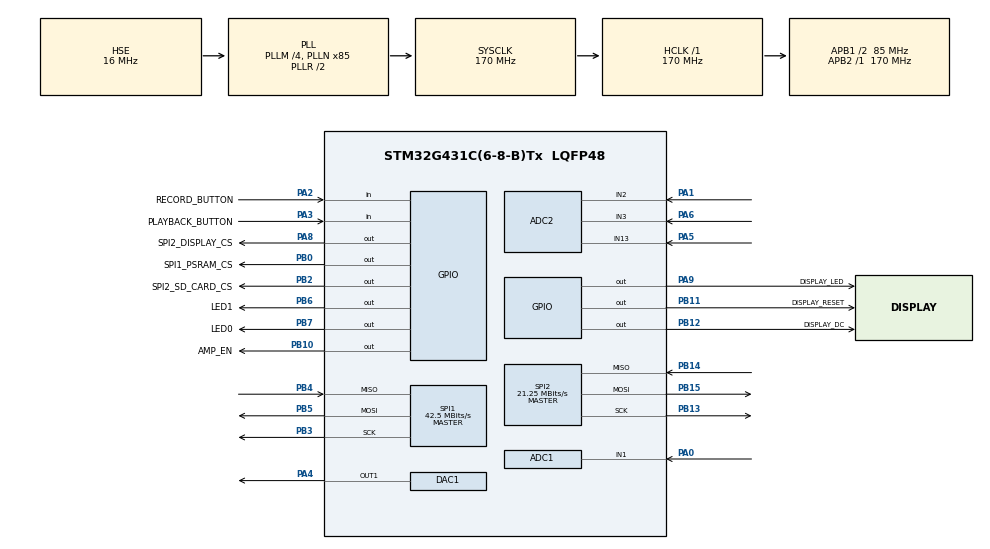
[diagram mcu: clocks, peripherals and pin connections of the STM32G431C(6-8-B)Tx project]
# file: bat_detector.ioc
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ADC1.Channel-0\#ChannelRegularConversion=ADC_CHANNEL_1
ADC1.ContinuousConvMode=DISABLE
ADC1.DMAContinuousRequests=ENABLE
ADC1.ExternalTrigConv=ADC_EXTERNALTRIG_T2_TRGO
ADC1.NbrOfConversionFlag=1
ADC1.OffsetNumber-0\#ChannelRegularConversion=ADC_OFFSET_NONE
ADC1.Rank-0\#ChannelRegularConversion=1
ADC1.SamplingTime-0\#ChannelRegularConversion=ADC_SAMPLETIME_2CYCLES_5
ADC1.master=1
ADC2.Channel-0\#ChannelRegularConversion=ADC_CHANNEL_2
ADC2.Channel-1\#ChannelRegularConversion=ADC_CHANNEL_13
ADC2.Channel-2\#ChannelRegularConversion=ADC_CHANNEL_3
ADC2.NbrOfConversion=3
ADC2.NbrOfConversionFlag=1
ADC2.OffsetNumber-0\#ChannelRegularConversion=ADC_OFFSET_NONE
ADC2.OffsetNumber-1\#ChannelRegularConversion=ADC_OFFSET_NONE
ADC2.OffsetNumber-2\#ChannelRegularConversion=ADC_OFFSET_NONE
ADC2.Rank-0\#ChannelRegularConversion=1
ADC2.Rank-1\#ChannelRegularConversion=2
ADC2.Rank-2\#ChannelRegularConversion=3
ADC2.SamplingTime-0\#ChannelRegularConversion=ADC_SAMPLETIME_247CYCLES_5
ADC2.SamplingTime-1\#ChannelRegularConversion=ADC_SAMPLETIME_247CYCLES_5
ADC2.SamplingTime-2\#ChannelRegularConversion=ADC_SAMPLETIME_247CYCLES_5
DAC1.DAC_Trigger_OUT1-DAC_OUT1=DAC_TRIGGER_T2_TRGO
Dma.ADC1.0.Direction=DMA_PERIPH_TO_MEMORY
Dma.ADC1.0.EventEnable=DISABLE
Dma.ADC1.0.Instance=DMA1_Channel1
Dma.ADC1.0.MemDataAlignment=DMA_MDATAALIGN_HALFWORD
Dma.ADC1.0.MemInc=DMA_MINC_ENABLE
Dma.ADC1.0.Mode=DMA_CIRCULAR
Dma.ADC1.0.PeriphDataAlignment=DMA_PDATAALIGN_HALFWORD
Dma.ADC1.0.PeriphInc=DMA_PINC_DISABLE
Dma.ADC1.0.Polarity=HAL_DMAMUX_REQ_GEN_RISING
Dma.ADC1.0.Priority=DMA_PRIORITY_HIGH
Dma.ADC1.0.RequestNumber=1
Dma.ADC1.0.SignalID=NONE
Dma.ADC1.0.SyncEnable=DISABLE
Dma.ADC1.0.SyncPolarity=HAL_DMAMUX_SYNC_NO_EVENT
Dma.ADC1.0.SyncRequestNumber=1
Dma.ADC1.0.SyncSignalID=NONE
Dma.ADC2.2.Direction=DMA_PERIPH_TO_MEMORY
Dma.ADC2.2.EventEnable=DISABLE
Dma.ADC2.2.Instance=DMA1_Channel3
Dma.ADC2.2.MemDataAlignment=DMA_MDATAALIGN_HALFWORD
Dma.ADC2.2.MemInc=DMA_MINC_ENABLE
Dma.ADC2.2.Mode=DMA_NORMAL
Dma.ADC2.2.PeriphDataAlignment=DMA_PDATAALIGN_HALFWORD
Dma.ADC2.2.PeriphInc=DMA_PINC_DISABLE
Dma.ADC2.2.Polarity=HAL_DMAMUX_REQ_GEN_RISING
Dma.ADC2.2.Priority=DMA_PRIORITY_LOW
Dma.ADC2.2.RequestNumber=1
Dma.ADC2.2.SignalID=NONE
Dma.ADC2.2.SyncEnable=DISABLE
Dma.ADC2.2.SyncPolarity=HAL_DMAMUX_SYNC_NO_EVENT
Dma.ADC2.2.SyncRequestNumber=1
Dma.ADC2.2.SyncSignalID=NONE
Dma.DAC1_CH1.1.Direction=DMA_MEMORY_TO_PERIPH
Dma.DAC1_CH1.1.EventEnable=DISABLE
Dma.DAC1_CH1.1.Instance=DMA1_Channel2
Dma.DAC1_CH1.1.MemDataAlignment=DMA_MDATAALIGN_HALFWORD
Dma.DAC1_CH1.1.MemInc=DMA_MINC_ENABLE
Dma.DAC1_CH1.1.Mode=DMA_CIRCULAR
Dma.DAC1_CH1.1.PeriphDataAlignment=DMA_PDATAALIGN_WORD
Dma.DAC1_CH1.1.PeriphInc=DMA_PINC_DISABLE
Dma.DAC1_CH1.1.Polarity=HAL_DMAMUX_REQ_GEN_RISING
Dma.DAC1_CH1.1.Priority=DMA_PRIORITY_HIGH
Dma.DAC1_CH1.1.RequestNumber=1
Dma.DAC1_CH1.1.SignalID=NONE
Dma.DAC1_CH1.1.SyncEnable=DISABLE
Dma.DAC1_CH1.1.SyncPolarity=HAL_DMAMUX_SYNC_NO_EVENT
Dma.DAC1_CH1.1.SyncRequestNumber=1
Dma.DAC1_CH1.1.SyncSignalID=NONE
Dma.Request0=ADC1
Dma.Request1=DAC1_CH1
Dma.Request2=ADC2
Dma.Request3=SPI1_RX
Dma.Request4=SPI1_TX
Dma.SPI1_RX.3.Direction=DMA_PERIPH_TO_MEMORY
Dma.SPI1_RX.3.EventEnable=DISABLE
Dma.SPI1_RX.3.Instance=DMA2_Channel1
Dma.SPI1_RX.3.MemDataAlignment=DMA_MDATAALIGN_BYTE
Dma.SPI1_RX.3.MemInc=DMA_MINC_ENABLE
Dma.SPI1_RX.3.Mode=DMA_NORMAL
Dma.SPI1_RX.3.PeriphDataAlignment=DMA_PDATAALIGN_BYTE
Dma.SPI1_RX.3.PeriphInc=DMA_PINC_DISABLE
Dma.SPI1_RX.3.Polarity=HAL_DMAMUX_REQ_GEN_RISING
Dma.SPI1_RX.3.Priority=DMA_PRIORITY_VERY_HIGH
Dma.SPI1_RX.3.RequestNumber=1
Dma.SPI1_RX.3.SignalID=NONE
Dma.SPI1_RX.3.SyncEnable=DISABLE
Dma.SPI1_RX.3.SyncPolarity=HAL_DMAMUX_SYNC_NO_EVENT
Dma.SPI1_RX.3.SyncRequestNumber=1
Dma.SPI1_RX.3.SyncSignalID=NONE
Dma.SPI1_TX.4.Direction=DMA_MEMORY_TO_PERIPH
Dma.SPI1_TX.4.EventEnable=DISABLE
Dma.SPI1_TX.4.Instance=DMA2_Channel2
Dma.SPI1_TX.4.MemDataAlignment=DMA_MDATAALIGN_BYTE
Dma.SPI1_TX.4.MemInc=DMA_MINC_ENABLE
Dma.SPI1_TX.4.Mode=DMA_NORMAL
Dma.SPI1_TX.4.PeriphDataAlignment=DMA_PDATAALIGN_BYTE
Dma.SPI1_TX.4.PeriphInc=DMA_PINC_DISABLE
Dma.SPI1_TX.4.Polarity=HAL_DMAMUX_REQ_GEN_RISING
Dma.SPI1_TX.4.Priority=DMA_PRIORITY_VERY_HIGH
Dma.SPI1_TX.4.RequestNumber=1
Dma.SPI1_TX.4.SignalID=NONE
Dma.SPI1_TX.4.SyncEnable=DISABLE
Dma.SPI1_TX.4.SyncPolarity=HAL_DMAMUX_SYNC_NO_EVENT
Dma.SPI1_TX.4.SyncRequestNumber=1
Dma.SPI1_TX.4.SyncSignalID=NONE
FATFS._FS_TINY=1
Mcu.Family=STM32G4
Mcu.Name=STM32G431C(6-8-B)Tx
Mcu.Package=LQFP48
NVIC.DMA1_Channel1_IRQn=true\:1\:0\:true\:false\:true\:false\:true\:true
NVIC.DMA1_Channel2_IRQn=true\:1\:0\:true\:false\:true\:false\:true\:true
NVIC.DMA1_Channel3_IRQn=true\:3\:0\:true\:false\:true\:false\:true\:true
NVIC.DMA2_Channel1_IRQn=true\:0\:0\:false\:false\:true\:false\:true\:true
NVIC.DMA2_Channel2_IRQn=true\:1\:0\:true\:false\:true\:false\:true\:true
NVIC.PriorityGroup=NVIC_PRIORITYGROUP_4
NVIC.SPI2_IRQn=true\:5\:0\:true\:false\:true\:true\:true\:true
NVIC.TIM6_DAC_IRQn=true\:1\:0\:true\:false\:true\:true\:true\:true
PA0.Mode=IN1-Single-Ended
PA0.Signal=ADC1_IN1
PA1.Mode=IN2-Single-Ended
PA1.Signal=ADC2_IN2
PA13.Mode=Serial_Wire
PA13.Signal=SYS_JTMS-SWDIO
PA14.Mode=Serial_Wire
PA14.Signal=SYS_JTCK-SWCLK
PA2.GPIO_Label=RECORD_BUTTON
PA2.GPIO_PuPd=GPIO_PULLUP
PA2.Signal=GPIO_Input
PA3.GPIO_Label=PLAYBACK_BUTTON
PA3.GPIO_PuPd=GPIO_PULLUP
PA3.Signal=GPIO_Input
PA4.Signal=COMP_DAC11_group
PA5.Mode=IN13-Single-Ended
PA5.Signal=ADC2_IN13
PA6.Mode=IN3-Single-Ended
PA6.Signal=ADC2_IN3
PA8.GPIO_Label=SPI2_DISPLAY_CS
PA8.GPIO_Speed=GPIO_SPEED_FREQ_HIGH
PA8.Signal=GPIO_Output
PA9.GPIO_Label=DISPLAY_LED
PA9.Signal=GPIO_Output
PB0.GPIO_Label=SPI1_PSRAM_CS
PB0.GPIO_Speed=GPIO_SPEED_FREQ_HIGH
PB0.Signal=GPIO_Output
PB10.GPIO_Label=AMP_EN
PB10.Signal=GPIO_Output
PB11.GPIO_Label=DISPLAY_RESET
PB11.Signal=GPIO_Output
PB12.GPIO_Label=DISPLAY_DC
PB12.Signal=GPIO_Output
PB13.GPIO_Speed=GPIO_SPEED_FREQ_HIGH
PB13.Mode=Full_Duplex_Master
PB13.Signal=SPI2_SCK
PB14.GPIO_PuPd=GPIO_PULLUP
PB14.GPIO_Speed=GPIO_SPEED_FREQ_HIGH
PB14.Mode=Full_Duplex_Master
PB14.Signal=SPI2_MISO
PB15.GPIO_Speed=GPIO_SPEED_FREQ_HIGH
PB15.Mode=Full_Duplex_Master
PB15.Signal=SPI2_MOSI
PB2.GPIO_Label=SPI2_SD_CARD_CS
PB2.GPIO_Speed=GPIO_SPEED_FREQ_HIGH
PB2.Signal=GPIO_Output
PB3.GPIO_Speed=GPIO_SPEED_FREQ_HIGH
PB3.Mode=Full_Duplex_Master
PB3.Signal=SPI1_SCK
PB4.GPIO_Speed=GPIO_SPEED_FREQ_HIGH
PB4.Mode=Full_Duplex_Master
PB4.Signal=SPI1_MISO
PB5.GPIO_Speed=GPIO_SPEED_FREQ_HIGH
PB5.Mode=Full_Duplex_Master
PB5.Signal=SPI1_MOSI
PB6.GPIO_Label=LED1
PB6.Signal=GPIO_Output
PB7.GPIO_Label=LED0
PB7.Signal=GPIO_Output
PF0-OSC_IN.Mode=HSE-External-Oscillator
PF0-OSC_IN.Signal=RCC_OSC_IN
PF1-OSC_OUT.Mode=HSE-External-Oscillator
PF1-OSC_OUT.Signal=RCC_OSC_OUT
ProjectManager.HeapSize=0x200
ProjectManager.StackSize=0x800
ProjectManager.TargetToolchain=STM32CubeIDE
RCC.ADC12Freq_Value=170000000
RCC.AHBFreq_Value=170000000
RCC.APB1CLKDivider=RCC_HCLK_DIV2
RCC.APB1Freq_Value=85000000
RCC.APB1TimFreq_Value=170000000
RCC.APB2Freq_Value=170000000
RCC.APB2TimFreq_Value=170000000
RCC.CK48CLockSelection=RCC_USBCLKSOURCE_HSI48
RCC.CortexFreq_Value=170000000
RCC.EXTERNAL_CLOCK_VALUE=12288000
RCC.HCLKFreq_Value=170000000
RCC.HSE_VALUE=16000000
RCC.HSI48_VALUE=48000000
RCC.HSI_VALUE=16000000
RCC.LSE_VALUE=32768
RCC.PLLM=RCC_PLLM_DIV4
RCC.PLLN=85
RCC.PLLSourceVirtual=RCC_PLLSOURCE_HSE
RCC.RTCClockSelection=RCC_RTCCLKSOURCE_HSE_DIV32
RCC.SYSCLKFreq_VALUE=170000000
RCC.SYSCLKSource=RCC_SYSCLKSOURCE_PLLCLK
RCC.USBFreq_Value=48000000
RCC.VCOOutputFreq_Value=340000000
SH.COMP_DAC11_group.0=DAC1_OUT1,DAC_OUT1
SPI1.BaudRatePrescaler=SPI_BAUDRATEPRESCALER_4
SPI1.CalculateBaudRate=42.5 MBits/s
SPI1.DataSize=SPI_DATASIZE_8BIT
SPI1.Direction=SPI_DIRECTION_2LINES
SPI1.Mode=SPI_MODE_MASTER
SPI1.NSSPMode=SPI_NSS_PULSE_DISABLE
SPI1.VirtualType=VM_MASTER
SPI2.BaudRatePrescaler=SPI_BAUDRATEPRESCALER_4
SPI2.CalculateBaudRate=21.25 MBits/s
SPI2.DataSize=SPI_DATASIZE_8BIT
SPI2.Direction=SPI_DIRECTION_2LINES
SPI2.Mode=SPI_MODE_MASTER
SPI2.NSSPMode=SPI_NSS_PULSE_DISABLE
SPI2.VirtualType=VM_MASTER
TIM2.PeriodNoDither=679
TIM2.TIM_MasterOutputTrigger=TIM_TRGO_UPDATE
VP_FATFS_VS_Generic.Mode=User_defined
VP_RTC_VS_RTC_Activate.Mode=RTC_Enabled
VP_RTC_VS_RTC_Calendar.Mode=RTC_Calendar
VP_SYS_VS_DBSignals.Mode=DisableDeadBatterySignals
VP_TIM2_VS_ClockSourceINT.Mode=Internal
board=custom

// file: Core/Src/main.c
/* USER CODE BEGIN Header */
/**
  ******************************************************************************
  * @file           : main.c
  * @brief          : Main program body
  ******************************************************************************
  * Bat detector, V2 board. Start-up order: the CubeMX peripheral init, then
  * the audio modules, the display and the power-up checks (boot_checks.c),
  * then the audio chain (TIM2 triggers ADC1 and the DAC; dsp.c in between).
  * The main loop polls the front panel (ui.c), the recorder, the FFT and the
  * display; the audio itself runs in the ADC's DMA interrupt (adc.c -> dsp.c).
  * Docs/HOW_IT_WORKS.md explains the whole design.
  *
  * Copyright (c) 2026 STMicroelectronics.
  * All rights reserved.
  *
  * This software is licensed under terms that can be found in the LICENSE file
  * in the root directory of this software component.
  * If no LICENSE file comes with this software, it is provided AS-IS.
  *
  ******************************************************************************
  */
/* USER CODE END Header */
#include "main.h"
#include "app_fatfs.h"

/* USER CODE BEGIN Includes */

#include "pipeline_config.h"
#include "adc.h"
#include "autotune.h"
#include "bat_detect.h"
#include "boot_checks.h"
#include "classifier.h"
#include "dac.h"
#include "dsp.h"
#include "fft.h"
#include "ili9341.h"
#include "recorder.h"
#include "ui.h"
#include "waterfall.h"

/* USER CODE END Includes */

ADC_HandleTypeDef hadc1;
ADC_HandleTypeDef hadc2;
DMA_HandleTypeDef hdma_adc1;
DMA_HandleTypeDef hdma_adc2;

DAC_HandleTypeDef hdac1;
DMA_HandleTypeDef hdma_dac1_ch1;

RTC_HandleTypeDef hrtc;

SPI_HandleTypeDef hspi1;
SPI_HandleTypeDef hspi2;
DMA_HandleTypeDef hdma_spi1_rx;
DMA_HandleTypeDef hdma_spi1_tx;

TIM_HandleTypeDef htim2;

void SystemClock_Config(void);
static void MX_GPIO_Init(void);
static void MX_DMA_Init(void);
static void MX_ADC1_Init(void);
static void MX_DAC1_Init(void);
static void MX_SPI2_Init(void);
static void MX_ADC2_Init(void);
static void MX_TIM2_Init(void);
static void MX_SPI1_Init(void);
static void MX_RTC_Init(void);

int main(void)
{

  /* MCU Configuration--------------------------------------------------------*/

  /* Reset of all peripherals, Initializes the Flash interface and the Systick. */
  HAL_Init();

  /* Configure the system clock */
  SystemClock_Config();

  /* Initialize all configured peripherals */
  MX_GPIO_Init();
  MX_DMA_Init();
  MX_ADC1_Init();
  MX_DAC1_Init();
  MX_SPI2_Init();
  MX_ADC2_Init();
  MX_TIM2_Init();
  MX_SPI1_Init();
  MX_RTC_Init();
  if (MX_FATFS_Init() != APP_OK) {
    Error_Handler();
  }
  /* USER CODE BEGIN 2 */

  // Flush-to-zero on the FPU, so denormal numbers can't slow the biquad filters
  __set_FPSCR(__get_FPSCR() | (1UL << 24));

  ADC_Init();
  DSP_Init();
  BatDetect_Init();
  AutoTune_Init();
  Classifier_Init();
  DAC_Init();
  FFT_Init();

  // MX_GPIO_Init leaves every SPI chip-select low. Deselect SD and PSRAM
  // before the first SPI2 transfer so the SD card doesn't see display traffic.
  HAL_GPIO_WritePin(SPI2_SD_CARD_CS_GPIO_Port, SPI2_SD_CARD_CS_Pin, GPIO_PIN_SET);
  HAL_GPIO_WritePin(SPI1_PSRAM_CS_GPIO_Port, SPI1_PSRAM_CS_Pin, GPIO_PIN_SET);
  ILI9341_Unselect();
  ILI9341_Init();

  HAL_GPIO_WritePin(DISPLAY_LED_GPIO_Port, DISPLAY_LED_Pin, GPIO_PIN_SET); // backlight on
  ILI9341_FillScreen(ILI9341_BLACK);

  // Power-up checks (boot_checks.h). A PSRAM that answers starts its ring,
  // which keeps the last 16.8 s of raw audio, before the ADC starts, so
  // ring block 0 is the first block.
  BootChecks_Spi2();
  (void)BootChecks_Psram();
  BootChecks_Sd();

  Waterfall_Init();       // clears the check results off the screen
  Waterfall_SetRange(-10.0f, 20.0f);

  ADC_SetBlockCallback(DSP_ProcessBlock);    // every 256 samples, in the ADC DMA interrupt
  DSP_SetOutputCallback(DAC_WriteBlock);

  // DAC and ADC armed first, then the timer that triggers both at 250 kHz,
  // so neither misses the first trigger
  DAC_Start();
  ADC_Start();
  HAL_TIM_Base_Start(&htim2);

  // TS4990 is held in standby by R9 until AMP_EN goes high. Enable it only
  // once the DAC is already outputting mid-scale, to avoid a turn-on pop.
  HAL_GPIO_WritePin(AMP_EN_GPIO_Port, AMP_EN_Pin, GPIO_PIN_SET);

  /* USER CODE END 2 */

  /* Infinite loop */
  /* USER CODE BEGIN WHILE */

  UI_Init();

  while (1)
  {
    UI_Poll();          // every 10 ms: knobs, buttons, header line, LEDs
    Recorder_Poll();    // WAV recording, ahead of the FFT: the PSRAM ring holds only 16.8 s
    Classifier_Poll();  // species: reads each bat pass back from the ring (stands aside while recording)
    FFT_Process();
    UI_PollDisplay();   // the waterfall's rows (and auto-tune), the battery readout

    /* USER CODE END WHILE */

  }
}

void SystemClock_Config(void)
{
  RCC_OscInitTypeDef RCC_OscInitStruct = {0};
  RCC_ClkInitTypeDef RCC_ClkInitStruct = {0};

  /** Configure the main internal regulator output voltage
  */
  HAL_PWREx_ControlVoltageScaling(PWR_REGULATOR_VOLTAGE_SCALE1_BOOST);

  /** Initializes the RCC Oscillators according to the specified parameters
  * in the RCC_OscInitTypeDef structure.
  */
  RCC_OscInitStruct.OscillatorType = RCC_OSCILLATORTYPE_HSE;
  RCC_OscInitStruct.HSEState = RCC_HSE_ON;
  RCC_OscInitStruct.PLL.PLLState = RCC_PLL_ON;
  RCC_OscInitStruct.PLL.PLLSource = RCC_PLLSOURCE_HSE;
  RCC_OscInitStruct.PLL.PLLM = RCC_PLLM_DIV4;
  RCC_OscInitStruct.PLL.PLLN = 85;
  RCC_OscInitStruct.PLL.PLLP = RCC_PLLP_DIV2;
  RCC_OscInitStruct.PLL.PLLQ = RCC_PLLQ_DIV2;
  RCC_OscInitStruct.PLL.PLLR = RCC_PLLR_DIV2;
  if (HAL_RCC_OscConfig(&RCC_OscInitStruct) != HAL_OK)
  {
    Error_Handler();
  }

  /** Initializes the CPU, AHB and APB buses clocks
  */
  RCC_ClkInitStruct.ClockType = RCC_CLOCKTYPE_HCLK|RCC_CLOCKTYPE_SYSCLK
                              |RCC_CLOCKTYPE_PCLK1|RCC_CLOCKTYPE_PCLK2;
  RCC_ClkInitStruct.SYSCLKSource = RCC_SYSCLKSOURCE_PLLCLK;
  RCC_ClkInitStruct.AHBCLKDivider = RCC_SYSCLK_DIV1;
  RCC_ClkInitStruct.APB1CLKDivider = RCC_HCLK_DIV2;
  RCC_ClkInitStruct.APB2CLKDivider = RCC_HCLK_DIV1;

  if (HAL_RCC_ClockConfig(&RCC_ClkInitStruct, FLASH_LATENCY_4) != HAL_OK)
  {
    Error_Handler();
  }
}

static void MX_ADC1_Init(void)
{

  ADC_MultiModeTypeDef multimode = {0};
  ADC_ChannelConfTypeDef sConfig = {0};

  /** Common config
  */
  hadc1.Instance = ADC1;
  hadc1.Init.ClockPrescaler = ADC_CLOCK_SYNC_PCLK_DIV4;
  hadc1.Init.Resolution = ADC_RESOLUTION_12B;
  hadc1.Init.DataAlign = ADC_DATAALIGN_RIGHT;
  hadc1.Init.GainCompensation = 0;
  hadc1.Init.ScanConvMode = ADC_SCAN_DISABLE;
  hadc1.Init.EOCSelection = ADC_EOC_SINGLE_CONV;
  hadc1.Init.LowPowerAutoWait = DISABLE;
  hadc1.Init.ContinuousConvMode = DISABLE;
  hadc1.Init.NbrOfConversion = 1;
  hadc1.Init.DiscontinuousConvMode = DISABLE;
  hadc1.Init.ExternalTrigConv = ADC_EXTERNALTRIG_T2_TRGO;
  hadc1.Init.ExternalTrigConvEdge = ADC_EXTERNALTRIGCONVEDGE_RISING;
  hadc1.Init.DMAContinuousRequests = ENABLE;
  hadc1.Init.Overrun = ADC_OVR_DATA_PRESERVED;
  hadc1.Init.OversamplingMode = DISABLE;
  if (HAL_ADC_Init(&hadc1) != HAL_OK)
  {
    Error_Handler();
  }

  /** Configure the ADC multi-mode
  */
  multimode.Mode = ADC_MODE_INDEPENDENT;
  if (HAL_ADCEx_MultiModeConfigChannel(&hadc1, &multimode) != HAL_OK)
  {
    Error_Handler();
  }

  /** Configure Regular Channel
  */
  sConfig.Channel = ADC_CHANNEL_1;
  sConfig.Rank = ADC_REGULAR_RANK_1;
  sConfig.SamplingTime = ADC_SAMPLETIME_2CYCLES_5;
  sConfig.SingleDiff = ADC_SINGLE_ENDED;
  sConfig.OffsetNumber = ADC_OFFSET_NONE;
  sConfig.Offset = 0;
  if (HAL_ADC_ConfigChannel(&hadc1, &sConfig) != HAL_OK)
  {
    Error_Handler();
  }

}

static void MX_ADC2_Init(void)
{

  ADC_ChannelConfTypeDef sConfig = {0};

  /** Common config
  */
  hadc2.Instance = ADC2;
  hadc2.Init.ClockPrescaler = ADC_CLOCK_SYNC_PCLK_DIV4;
  hadc2.Init.Resolution = ADC_RESOLUTION_12B;
  hadc2.Init.DataAlign = ADC_DATAALIGN_RIGHT;
  hadc2.Init.GainCompensation = 0;
  hadc2.Init.ScanConvMode = ADC_SCAN_ENABLE;
  hadc2.Init.EOCSelection = ADC_EOC_SINGLE_CONV;
  hadc2.Init.LowPowerAutoWait = DISABLE;
  hadc2.Init.ContinuousConvMode = DISABLE;
  hadc2.Init.NbrOfConversion = 3;
  hadc2.Init.DiscontinuousConvMode = DISABLE;
  hadc2.Init.ExternalTrigConv = ADC_SOFTWARE_START;
  hadc2.Init.ExternalTrigConvEdge = ADC_EXTERNALTRIGCONVEDGE_NONE;
  hadc2.Init.DMAContinuousRequests = DISABLE;
  hadc2.Init.Overrun = ADC_OVR_DATA_PRESERVED;
  hadc2.Init.OversamplingMode = DISABLE;
  if (HAL_ADC_Init(&hadc2) != HAL_OK)
  {
    Error_Handler();
  }

  /** Configure Regular Channel
  */
  sConfig.Channel = ADC_CHANNEL_2;
  sConfig.Rank = ADC_REGULAR_RANK_1;
  sConfig.SamplingTime = ADC_SAMPLETIME_247CYCLES_5;
  sConfig.SingleDiff = ADC_SINGLE_ENDED;
  sConfig.OffsetNumber = ADC_OFFSET_NONE;
  sConfig.Offset = 0;
  if (HAL_ADC_ConfigChannel(&hadc2, &sConfig) != HAL_OK)
  {
    Error_Handler();
  }

  /** Configure Regular Channel
  */
  sConfig.Channel = ADC_CHANNEL_13;
  sConfig.Rank = ADC_REGULAR_RANK_2;
  if (HAL_ADC_ConfigChannel(&hadc2, &sConfig) != HAL_OK)
  {
    Error_Handler();
  }

  /** Configure Regular Channel
  */
  sConfig.Channel = ADC_CHANNEL_3;
  sConfig.Rank = ADC_REGULAR_RANK_3;
  if (HAL_ADC_ConfigChannel(&hadc2, &sConfig) != HAL_OK)
  {
    Error_Handler();
  }

}

static void MX_DAC1_Init(void)
{

  DAC_ChannelConfTypeDef sConfig = {0};

  /** DAC Initialization
  */
  hdac1.Instance = DAC1;
  if (HAL_DAC_Init(&hdac1) != HAL_OK)
  {
    Error_Handler();
  }

  /** DAC channel OUT1 config
  */
  sConfig.DAC_HighFrequency = DAC_HIGH_FREQUENCY_INTERFACE_MODE_AUTOMATIC;
  sConfig.DAC_DMADoubleDataMode = DISABLE;
  sConfig.DAC_SignedFormat = DISABLE;
  sConfig.DAC_SampleAndHold = DAC_SAMPLEANDHOLD_DISABLE;
  sConfig.DAC_Trigger = DAC_TRIGGER_T2_TRGO;
  sConfig.DAC_Trigger2 = DAC_TRIGGER_NONE;
  sConfig.DAC_OutputBuffer = DAC_OUTPUTBUFFER_ENABLE;
  sConfig.DAC_ConnectOnChipPeripheral = DAC_CHIPCONNECT_EXTERNAL;
  sConfig.DAC_UserTrimming = DAC_TRIMMING_FACTORY;
  if (HAL_DAC_ConfigChannel(&hdac1, &sConfig, DAC_CHANNEL_1) != HAL_OK)
  {
    Error_Handler();
  }

}

static void MX_RTC_Init(void)
{

  RTC_TimeTypeDef sTime = {0};
  RTC_DateTypeDef sDate = {0};

  /** Initialize RTC Only
  */
  hrtc.Instance = RTC;
  hrtc.Init.HourFormat = RTC_HOURFORMAT_24;
  hrtc.Init.AsynchPrediv = 127;
  hrtc.Init.SynchPrediv = 255;
  hrtc.Init.OutPut = RTC_OUTPUT_DISABLE;
  hrtc.Init.OutPutRemap = RTC_OUTPUT_REMAP_NONE;
  hrtc.Init.OutPutPolarity = RTC_OUTPUT_POLARITY_HIGH;
  hrtc.Init.OutPutType = RTC_OUTPUT_TYPE_OPENDRAIN;
  hrtc.Init.OutPutPullUp = RTC_OUTPUT_PULLUP_NONE;
  if (HAL_RTC_Init(&hrtc) != HAL_OK)
  {
    Error_Handler();
  }

  /** Initialize RTC and set the Time and Date
  */
  sTime.Hours = 0x0;
  sTime.Minutes = 0x0;
  sTime.Seconds = 0x0;
  sTime.SubSeconds = 0x0;
  sTime.DayLightSaving = RTC_DAYLIGHTSAVING_NONE;
  sTime.StoreOperation = RTC_STOREOPERATION_RESET;
  if (HAL_RTC_SetTime(&hrtc, &sTime, RTC_FORMAT_BCD) != HAL_OK)
  {
    Error_Handler();
  }
  sDate.WeekDay = RTC_WEEKDAY_MONDAY;
  sDate.Month = RTC_MONTH_JANUARY;
  sDate.Date = 0x1;
  sDate.Year = 0x0;

  if (HAL_RTC_SetDate(&hrtc, &sDate, RTC_FORMAT_BCD) != HAL_OK)
  {
    Error_Handler();
  }

}

static void MX_SPI1_Init(void)
{

  /* SPI1 parameter configuration*/
  hspi1.Instance = SPI1;
  hspi1.Init.Mode = SPI_MODE_MASTER;
  hspi1.Init.Direction = SPI_DIRECTION_2LINES;
  hspi1.Init.DataSize = SPI_DATASIZE_8BIT;
  hspi1.Init.CLKPolarity = SPI_POLARITY_LOW;
  hspi1.Init.CLKPhase = SPI_PHASE_1EDGE;
  hspi1.Init.NSS = SPI_NSS_SOFT;
  hspi1.Init.BaudRatePrescaler = SPI_BAUDRATEPRESCALER_4;
  hspi1.Init.FirstBit = SPI_FIRSTBIT_MSB;
  hspi1.Init.TIMode = SPI_TIMODE_DISABLE;
  hspi1.Init.CRCCalculation = SPI_CRCCALCULATION_DISABLE;
  hspi1.Init.CRCPolynomial = 7;
  hspi1.Init.CRCLength = SPI_CRC_LENGTH_DATASIZE;
  hspi1.Init.NSSPMode = SPI_NSS_PULSE_DISABLE;
  if (HAL_SPI_Init(&hspi1) != HAL_OK)
  {
    Error_Handler();
  }

}

static void MX_SPI2_Init(void)
{

  /* SPI2 parameter configuration*/
  hspi2.Instance = SPI2;
  hspi2.Init.Mode = SPI_MODE_MASTER;
  hspi2.Init.Direction = SPI_DIRECTION_2LINES;
  hspi2.Init.DataSize = SPI_DATASIZE_8BIT;
  hspi2.Init.CLKPolarity = SPI_POLARITY_LOW;
  hspi2.Init.CLKPhase = SPI_PHASE_1EDGE;
  hspi2.Init.NSS = SPI_NSS_SOFT;
  hspi2.Init.BaudRatePrescaler = SPI_BAUDRATEPRESCALER_4;
  hspi2.Init.FirstBit = SPI_FIRSTBIT_MSB;
  hspi2.Init.TIMode = SPI_TIMODE_DISABLE;
  hspi2.Init.CRCCalculation = SPI_CRCCALCULATION_DISABLE;
  hspi2.Init.CRCPolynomial = 7;
  hspi2.Init.CRCLength = SPI_CRC_LENGTH_DATASIZE;
  hspi2.Init.NSSPMode = SPI_NSS_PULSE_DISABLE;
  if (HAL_SPI_Init(&hspi2) != HAL_OK)
  {
    Error_Handler();
  }

}

static void MX_TIM2_Init(void)
{

  TIM_ClockConfigTypeDef sClockSourceConfig = {0};
  TIM_MasterConfigTypeDef sMasterConfig = {0};

  htim2.Instance = TIM2;
  htim2.Init.Prescaler = 0;
  htim2.Init.CounterMode = TIM_COUNTERMODE_UP;
  htim2.Init.Period = 679;
  htim2.Init.ClockDivision = TIM_CLOCKDIVISION_DIV1;
  htim2.Init.AutoReloadPreload = TIM_AUTORELOAD_PRELOAD_DISABLE;
  if (HAL_TIM_Base_Init(&htim2) != HAL_OK)
  {
    Error_Handler();
  }
  sClockSourceConfig.ClockSource = TIM_CLOCKSOURCE_INTERNAL;
  if (HAL_TIM_ConfigClockSource(&htim2, &sClockSourceConfig) != HAL_OK)
  {
    Error_Handler();
  }
  sMasterConfig.MasterOutputTrigger = TIM_TRGO_UPDATE;
  sMasterConfig.MasterSlaveMode = TIM_MASTERSLAVEMODE_DISABLE;
  if (HAL_TIMEx_MasterConfigSynchronization(&htim2, &sMasterConfig) != HAL_OK)
  {
    Error_Handler();
  }
  /* USER CODE BEGIN TIM2_Init 2 */

  // pipeline_config.h is the authoritative sample rate: catch a CubeMX
  // TIM2 period that no longer matches it
  if (htim2.Init.Period != (AUDIO_TIMER_PERIOD - 1U))
  {
    Error_Handler();
  }

  /* USER CODE END TIM2_Init 2 */

}

static void MX_DMA_Init(void)
{

  /* DMA controller clock enable */
  __HAL_RCC_DMAMUX1_CLK_ENABLE();
  __HAL_RCC_DMA1_CLK_ENABLE();
  __HAL_RCC_DMA2_CLK_ENABLE();

  /* DMA interrupt init */
  /* DMA1_Channel1_IRQn interrupt configuration */
  HAL_NVIC_SetPriority(DMA1_Channel1_IRQn, 1, 0);
  HAL_NVIC_EnableIRQ(DMA1_Channel1_IRQn);
  /* DMA1_Channel2_IRQn interrupt configuration */
  HAL_NVIC_SetPriority(DMA1_Channel2_IRQn, 1, 0);
  HAL_NVIC_EnableIRQ(DMA1_Channel2_IRQn);
  /* DMA1_Channel3_IRQn interrupt configuration */
  HAL_NVIC_SetPriority(DMA1_Channel3_IRQn, 3, 0);
  HAL_NVIC_EnableIRQ(DMA1_Channel3_IRQn);
  /* DMA2_Channel1_IRQn interrupt configuration */
  HAL_NVIC_SetPriority(DMA2_Channel1_IRQn, 0, 0);
  HAL_NVIC_EnableIRQ(DMA2_Channel1_IRQn);
  /* DMA2_Channel2_IRQn interrupt configuration */
  HAL_NVIC_SetPriority(DMA2_Channel2_IRQn, 1, 0);
  HAL_NVIC_EnableIRQ(DMA2_Channel2_IRQn);

}

static void MX_GPIO_Init(void)
{
  GPIO_InitTypeDef GPIO_InitStruct = {0};

  /* GPIO Ports Clock Enable */
  __HAL_RCC_GPIOF_CLK_ENABLE();
  __HAL_RCC_GPIOA_CLK_ENABLE();
  __HAL_RCC_GPIOB_CLK_ENABLE();

  /*Configure GPIO pin Output Level */
  HAL_GPIO_WritePin(GPIOB, SPI1_PSRAM_CS_Pin|SPI2_SD_CARD_CS_Pin|AMP_EN_Pin|DISPLAY_RESET_Pin
                          |DISPLAY_DC_Pin|LED1_Pin|LED0_Pin, GPIO_PIN_RESET);

  /*Configure GPIO pin Output Level */
  HAL_GPIO_WritePin(GPIOA, SPI2_DISPLAY_CS_Pin|DISPLAY_LED_Pin, GPIO_PIN_RESET);

  /*Configure GPIO pins : RECORD_BUTTON_Pin PLAYBACK_BUTTON_Pin */
  GPIO_InitStruct.Pin = RECORD_BUTTON_Pin|PLAYBACK_BUTTON_Pin;
  GPIO_InitStruct.Mode = GPIO_MODE_INPUT;
  GPIO_InitStruct.Pull = GPIO_PULLUP;
  HAL_GPIO_Init(GPIOA, &GPIO_InitStruct);

  /*Configure GPIO pins : SPI1_PSRAM_CS_Pin SPI2_SD_CARD_CS_Pin */
  GPIO_InitStruct.Pin = SPI1_PSRAM_CS_Pin|SPI2_SD_CARD_CS_Pin;
  GPIO_InitStruct.Mode = GPIO_MODE_OUTPUT_PP;
  GPIO_InitStruct.Pull = GPIO_NOPULL;
  GPIO_InitStruct.Speed = GPIO_SPEED_FREQ_HIGH;
  HAL_GPIO_Init(GPIOB, &GPIO_InitStruct);

  /*Configure GPIO pins : AMP_EN_Pin DISPLAY_RESET_Pin DISPLAY_DC_Pin LED1_Pin
                           LED0_Pin */
  GPIO_InitStruct.Pin = AMP_EN_Pin|DISPLAY_RESET_Pin|DISPLAY_DC_Pin|LED1_Pin
                          |LED0_Pin;
  GPIO_InitStruct.Mode = GPIO_MODE_OUTPUT_PP;
  GPIO_InitStruct.Pull = GPIO_NOPULL;
  GPIO_InitStruct.Speed = GPIO_SPEED_FREQ_LOW;
  HAL_GPIO_Init(GPIOB, &GPIO_InitStruct);

  /*Configure GPIO pin : SPI2_DISPLAY_CS_Pin */
  GPIO_InitStruct.Pin = SPI2_DISPLAY_CS_Pin;
  GPIO_InitStruct.Mode = GPIO_MODE_OUTPUT_PP;
  GPIO_InitStruct.Pull = GPIO_NOPULL;
  GPIO_InitStruct.Speed = GPIO_SPEED_FREQ_HIGH;
  HAL_GPIO_Init(SPI2_DISPLAY_CS_GPIO_Port, &GPIO_InitStruct);

  /*Configure GPIO pin : DISPLAY_LED_Pin */
  GPIO_InitStruct.Pin = DISPLAY_LED_Pin;
  GPIO_InitStruct.Mode = GPIO_MODE_OUTPUT_PP;
  GPIO_InitStruct.Pull = GPIO_NOPULL;
  GPIO_InitStruct.Speed = GPIO_SPEED_FREQ_LOW;
  HAL_GPIO_Init(DISPLAY_LED_GPIO_Port, &GPIO_InitStruct);

}

void Error_Handler(void)
{
  __disable_irq();
  while (1)
  {
  }
}
